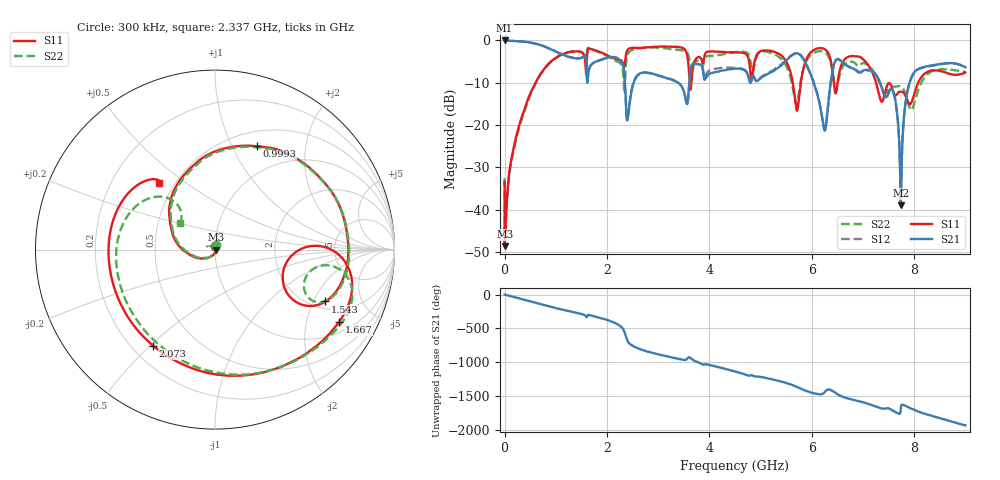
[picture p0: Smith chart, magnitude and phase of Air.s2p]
# Hz S DB R 50
! CMT, C1420, 19038819, 22.4.2/3
! Date: 2023-03-14 09:47:55
! Data: Format (Calibration Info)
! Freq	S11:dB/Ang(F2)	S21:dB/Ang(F2)	S12:dB/Ang(F2)	S22:dB/Ang(F2)
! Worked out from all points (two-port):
!   9001 points, 300 kHz to 9 GHz, reference 50 ohm
!   highest |S21| = 0.01 dB at 300 kHz (marker M1); lowest = -39.0 dB at 7.737 GHz (marker M2)
!   |S21| within 3 dB of the highest: start of sweep to 1.066 GHz
!   lowest |S11| = -48.6 dB at 5.3 MHz (marker M3), VSWR 1.01, Z = 50.4 - j0.068 ohm
!   |S11| at or under -10 dB: start of sweep to 605.4 MHz; 5.629 GHz to 5.786 GHz (156.9 MHz wide, 2.75 % of centre); 7.255 GHz to 8.078 GHz (822.2 MHz wide, 10.7 % of centre)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
!   |S22| runs from -47.8 to -1.6 dB; largest |S21 - S12| = 0.044
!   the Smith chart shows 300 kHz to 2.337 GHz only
!   S11 on the Smith chart (normalised r, x): 300 kHz: 1.00, +0.04; 999.3 MHz: 0.67, +1.26; 1.543 GHz: 2.32, -2.50; 1.667 GHz: 1.40, -3.14; 2.073 GHz: 0.28, -0.51; 2.337 GHz: 0.41, +0.40
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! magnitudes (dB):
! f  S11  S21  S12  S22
! 300 kHz  -33.4  0.0  0.0  -32.6
! 5.3 MHz  -48.6  0.0  0.0  -47.8
! 442.3 MHz  -14.4  -0.4  -0.4  -14.7
! 999.3 MHz  -4.1  -2.6  -2.6  -4.2
! 1.5 GHz  -2.8  -4.1  -4.1  -2.7
! 1.543 GHz  -3.4  -3.8  -3.8  -3.2
! 1.667 GHz  -1.9  -6.2  -6.2  -1.9
! 2.073 GHz  -3.9  -3.9  -4.0  -4.2
! 2.337 GHz  -6.3  -7.7  -7.6  -12.3
! 2.409 GHz  -2.1  -18.1  -17.9  -3.2
! 3 GHz  -1.5  -8.3  -8.3  -1.7
! 3.639 GHz  -11.0  -6.6  -6.6  -5.5
! 4.5 GHz  -2.8  -6.7  -6.5  -2.7
! 5.406 GHz  -3.5  -5.9  -5.6  -4.4
! 5.71 GHz  -16.6  -3.0  -3.0  -15.0
! 6 GHz  -2.6  -8.7  -8.6  -3.2
! 6.247 GHz  -2.0  -21.2  -21.2  -2.8
! 6.496 GHz  -10.6  -4.4  -4.4  -11.0
! 7.5 GHz  -10.1  -12.4  -12.4  -11.6
! 7.737 GHz  -12.1  -39.0  -38.7  -10.9
! 7.997 GHz  -12.8  -7.6  -7.7  -15.0
! 9 GHz  -7.6  -6.3  -6.3  -7.5
